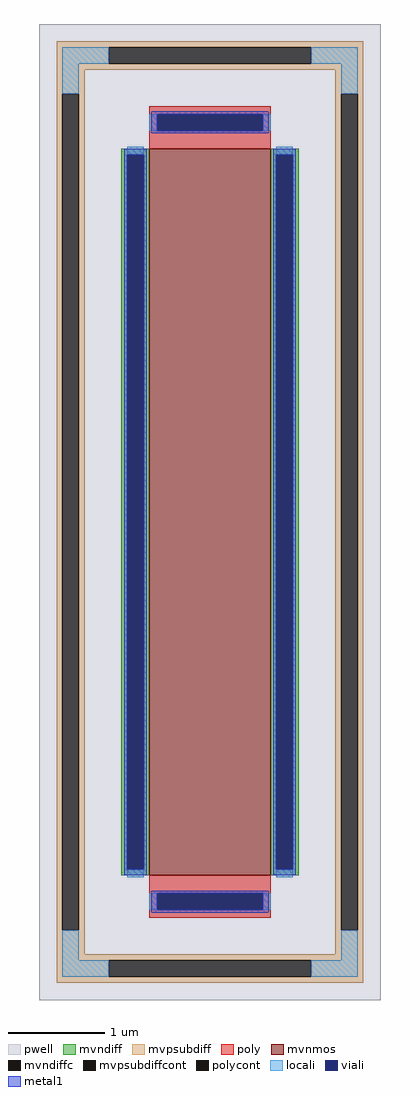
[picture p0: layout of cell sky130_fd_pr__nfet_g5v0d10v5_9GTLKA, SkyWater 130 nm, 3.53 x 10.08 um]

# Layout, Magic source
magic
tech sky130A
magscale 1 2
<< pwell >>
rect -353 -1008 353 1008
<< mvnmos >>
rect -125 -750 125 750
<< mvndiff >>
rect -183 738 -125 750
rect -183 -738 -171 738
rect -137 -738 -125 738
rect -183 -750 -125 -738
rect 125 738 183 750
rect 125 -738 137 738
rect 171 -738 183 738
rect 125 -750 183 -738
<< mvndiffc >>
rect -171 -738 -137 738
rect 137 -738 171 738
<< mvpsubdiff >>
rect -317 960 317 972
rect -317 926 -209 960
rect 209 926 317 960
rect -317 914 317 926
rect -317 864 -259 914
rect -317 -864 -305 864
rect -271 -864 -259 864
rect 259 864 317 914
rect -317 -914 -259 -864
rect 259 -864 271 864
rect 305 -864 317 864
rect 259 -914 317 -864
rect -317 -926 317 -914
rect -317 -960 -209 -926
rect 209 -960 317 -926
rect -317 -972 317 -960
<< mvpsubdiffcont >>
rect -209 926 209 960
rect -305 -864 -271 864
rect 271 -864 305 864
rect -209 -960 209 -926
<< poly >>
rect -125 822 125 838
rect -125 788 -109 822
rect 109 788 125 822
rect -125 750 125 788
rect -125 -788 125 -750
rect -125 -822 -109 -788
rect 109 -822 125 -788
rect -125 -838 125 -822
<< polycont >>
rect -109 788 109 822
rect -109 -822 109 -788
<< locali >>
rect -305 926 -209 960
rect 209 926 305 960
rect -305 864 -271 926
rect 271 864 305 926
rect -125 788 -109 822
rect 109 788 125 822
rect -171 738 -137 754
rect -171 -754 -137 -738
rect 137 738 171 754
rect 137 -754 171 -738
rect -125 -822 -109 -788
rect 109 -822 125 -788
rect -305 -926 -271 -864
rect 271 -926 305 -864
rect -305 -960 -209 -926
rect 209 -960 305 -926
<< viali >>
rect -109 788 109 822
rect -171 -738 -137 738
rect 137 -738 171 738
rect -109 -822 109 -788
<< metal1 >>
rect -121 822 121 828
rect -121 788 -109 822
rect 109 788 121 822
rect -121 782 121 788
rect -177 738 -131 750
rect -177 -738 -171 738
rect -137 -738 -131 738
rect -177 -750 -131 -738
rect 131 738 177 750
rect 131 -738 137 738
rect 171 -738 177 738
rect 131 -750 177 -738
rect -121 -788 121 -782
rect -121 -822 -109 -788
rect 109 -822 121 -788
rect -121 -828 121 -822
<< properties >>
string FIXED_BBOX -288 -943 288 943
string gencell sky130_fd_pr__nfet_g5v0d10v5
string library sky130
string parameters w 7.5 l 1.25 m 1 nf 1 diffcov 100 polycov 100 guard 1 glc 1 grc 1 gtc 1 gbc 1 tbcov 100 rlcov 100 topc 1 botc 1 poverlap 0 doverlap 1 lmin 0.50 wmin 0.42 class mosfet compatible {sky130_fd_pr__nfet_01v8 sky130_fd_pr__nfet_01v8_lvt  sky130_fd_bs_flash__special_sonosfet_star  sky130_fd_pr__nfet_g5v0d10v5 sky130_fd_pr__nfet_05v0_nvt  sky130_fd_pr__nfet_03v3_nvt} full_metal 1 viasrc 100 viadrn 100 viagate 100 viagb 0 viagr 0 viagl 0 viagt 0
<< end >>
